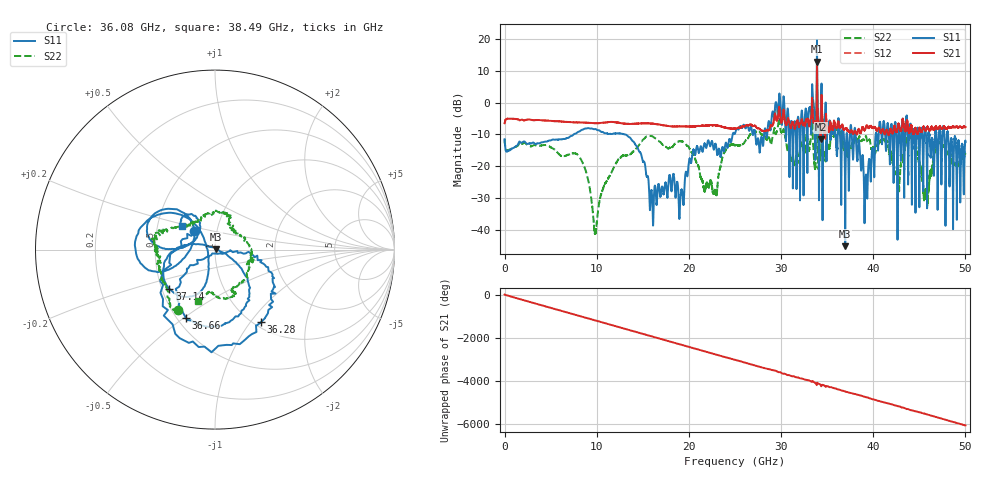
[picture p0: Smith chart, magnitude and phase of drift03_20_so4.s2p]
!Created with skrf (http://scikit-rf.org).
# Hz S RI R 50.0
!freq ReS11 ImS11 ReS21 ImS21 ReS12 ImS12 ReS22 ImS22
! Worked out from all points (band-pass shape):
!   10001 points, 300 kHz to 50 GHz, reference 50 ohm
!   highest |S21| = 12.87 dB at 33.9 GHz (marker M1); lowest = -11.5 dB at 34.32 GHz (marker M2)
!   |S21| within 3 dB of the highest: 33.89019 GHz to 33.9063 GHz (16.12 MHz wide, 0.0475 % of centre)
!   lowest |S11| = -45.0 dB at 36.96 GHz (marker M3), VSWR 1.01, Z = 50.5 + j0.206 ohm
!   |S11| at or under -10 dB: start of sweep to 7.486 GHz; 13.13 GHz to 24.74 GHz (11.61 GHz wide, 61.3 % of centre); 38.09 GHz to 40.26 GHz (2.172 GHz wide, 5.55 % of centre) (the widest 3 of 49)
!   |S22| runs from -41.2 to 5.3 dB; largest |S21 - S12| = 0.33
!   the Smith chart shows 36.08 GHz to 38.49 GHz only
!   S11 on the Smith chart (normalised r, x): 36.08 GHz: 0.77, +0.16; 36.28 GHz: 1.07, -1.13; 36.66 GHz: 0.55, -0.51; 37.14 GHz: 0.55, -0.27; 38.49 GHz: 0.67, +0.18
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300000  -0.2374 -0.1204  0.4674 0.0786  0.4666 0.0796  -0.2359 -0.1266
1.440291e9  0.21 0.0646  -0.5475 -0.0289  -0.5479 -0.0288  0.2111 -0.0047
2.915283e9  -0.2119 -0.0879  0.534 0.0512  0.5347 0.0514  -0.2025 0.0401
4.415274e9  0.2062 0.1323  -0.5222 -0.0417  -0.522 -0.0416  0.1975 -0.0872
8.33525e9  0.2885 -0.2339  0.147 0.4659  0.1471 0.4657  -0.0731 -0.1004
9.855241e9  -0.3609 0.1348  -0.1579 -0.4483  -0.1579 -0.4487  0.00897 0.00204
1.66702e10  0.0275 0.0444  -0.3776 0.254  -0.3775 0.2544  -0.1269 -0.2187
2.500015e10  -0.3259 -0.0138  -0.256 -0.2963  -0.255 -0.2973  -0.2134 0.0278
2.895013e10  -0.3198 0.4219  -0.29 0.3257  -0.3018 0.2893  0.0629 0.2196
3.006512e10  0.3991 0.2624  0.4476 -0.1994  0.452 -0.1849  0.1715 -0.298
3.171011e10  -0.0901 0.1922  -0.355 0.3582  -0.3566 0.356  0.0655 0.1579
3.33351e10  0.5654 -0.8242  0.2259 -0.8251  0.2312 -0.8101  -0.1928 -0.4099
3.38951e10  -2.279 -9.172  -4.339 0.7285  -4.07 0.9145  0.475 1.774
3.432009e10  -0.7795 0.00174  -0.1785 0.1972  -0.2403 0.1774  0.1416 -0.071
3.608008e10  -0.1184 0.1015  0.2631 -0.319  0.2697 -0.3094  -0.2071 -0.3361
3.628008e10  0.2554 -0.405  0.1522 -0.4121  0.1542 -0.3994  -0.304 -0.1348
3.665508e10  -0.1636 -0.3785  -0.2373 -0.3701  -0.2484 -0.379  -0.2675 0.1051
3.696008e10  0.00521 0.00203  -0.3705 -0.111  -0.3681 -0.1118  -0.0133 0.2061
3.713508e10  -0.2546 -0.218  -0.3911 -0.00828  -0.3841 -0.00649  0.0767 0.1402
3.849007e10  -0.1856 0.1304  0.2957 0.2013  0.3083 0.2124  -0.0929 -0.2838
4.167005e10  -0.1945 0.3025  0.3137 0.00204  0.3139 0.00774  -0.1845 -0.00797
5e10  -0.1285 -0.2069  0.1509 0.3853  0.1475 0.3828  -0.0547 -0.1448
